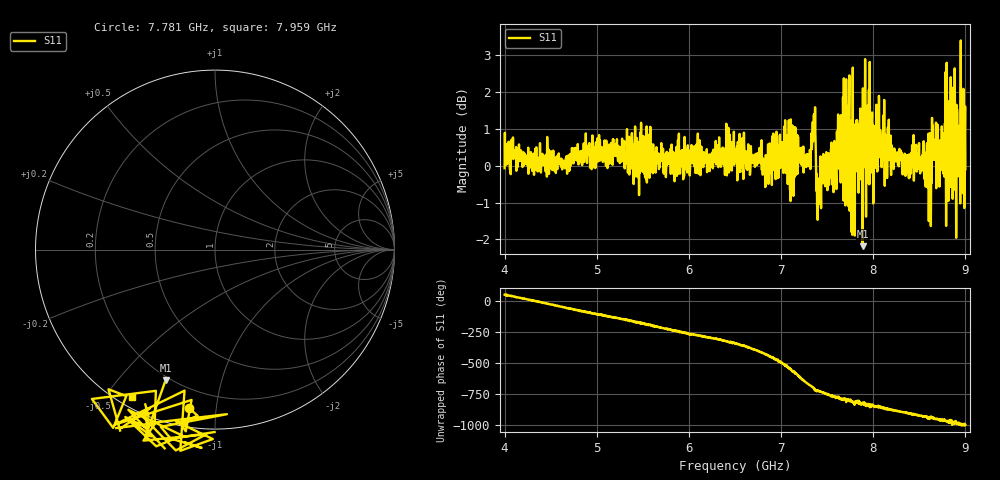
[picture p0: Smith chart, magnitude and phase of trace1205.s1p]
! Created with skrf 1.8.0 (http://scikit-rf.org).
# Hz S RI R 50.0
!freq ReS11 ImS11
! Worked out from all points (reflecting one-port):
!   1601 points, 4 GHz to 9 GHz, reference 50 ohm
!   lowest |S11| = -2.2 dB at 7.884 GHz (marker M1), VSWR 8.00, Z = 9.16 - j33.8 ohm
!   phase of S11 starts at 50 deg and turns -1053 deg over the sweep
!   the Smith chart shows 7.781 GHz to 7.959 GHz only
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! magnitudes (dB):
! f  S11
! 4 GHz  -0.1
! 4.625 GHz  -0.1
! 5.25 GHz  0.1
! 5.875 GHz  0.2
! 6.5 GHz  0.4
! 6.825 GHz  0.0
! 7.069 GHz  0.8
! 7.125 GHz  0.3
! 7.294 GHz  0.0
! 7.35 GHz  0.9
! 7.409 GHz  -1.0
! 7.475 GHz  0.2
! 7.578 GHz  0.7
! 7.662 GHz  0.2
! 7.75 GHz  -0.5
! 7.769 GHz  0.3
! 7.828 GHz  0.7
! 7.884 GHz  -2.2
! 8.053 GHz  0.7
! 8.375 GHz  0.3
! 8.441 GHz  -0.4
! 8.609 GHz  0.6
! 8.656 GHz  0.5
! 8.766 GHz  0.9
! 8.819 GHz  0.7
! 8.919 GHz  -0.2
! 8.972 GHz  1.2
! 9 GHz  -0.1
